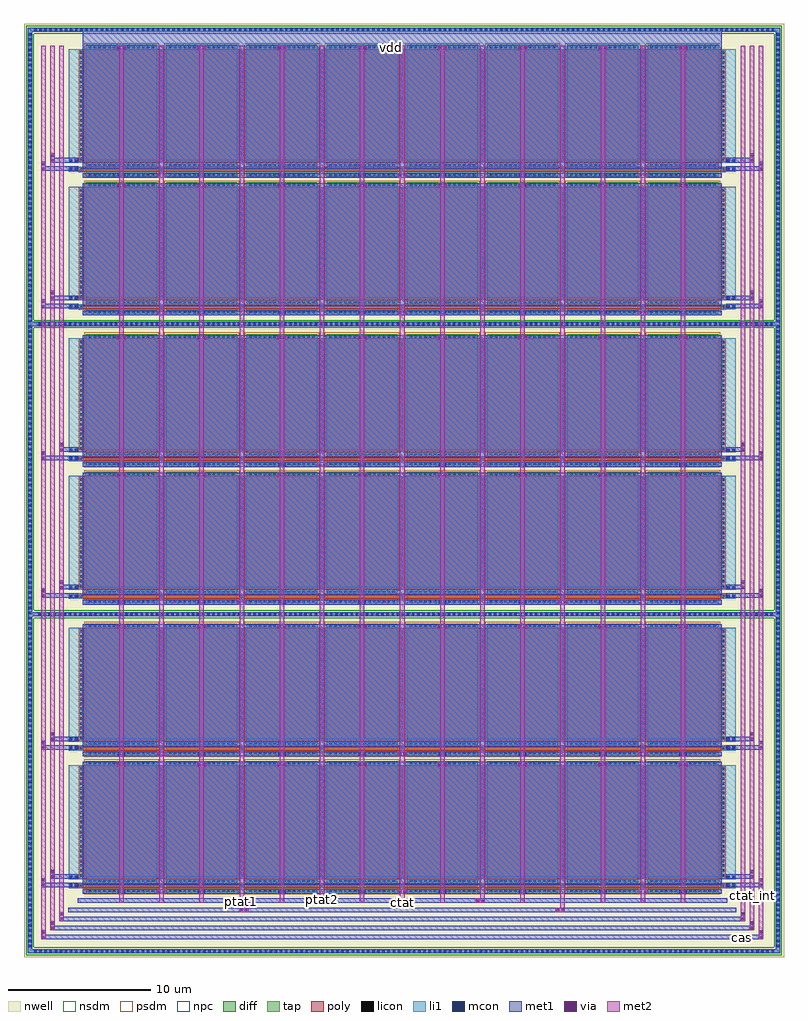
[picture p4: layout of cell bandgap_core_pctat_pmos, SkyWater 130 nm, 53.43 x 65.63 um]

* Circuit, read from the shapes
.subckt bandgap_core_pctat_pmos cas ctat ctat_int ptat1 ptat2 ptat_int vdd
XM1 n1 cas ctat vdd sky130_fd_pr__pfet_01v8 w=5 l=0.35
XM2 vdd ctat_int n1 vdd sky130_fd_pr__pfet_01v8 w=5 l=8
XM3 n2 cas ctat vdd sky130_fd_pr__pfet_01v8 w=5 l=0.35
XM4 vdd ctat_int n2 vdd sky130_fd_pr__pfet_01v8 w=5 l=8
XM5 n3 cas ptat1 vdd sky130_fd_pr__pfet_01v8 w=5 l=0.35
XM6 vdd ptat_int n3 vdd sky130_fd_pr__pfet_01v8 w=5 l=8
XM7 n4 cas ptat2 vdd sky130_fd_pr__pfet_01v8 w=5 l=0.35
XM8 vdd ptat_int n4 vdd sky130_fd_pr__pfet_01v8 w=5 l=8
XM9 n5 cas ctat vdd sky130_fd_pr__pfet_01v8 w=5 l=0.35
XM10 vdd ctat_int n5 vdd sky130_fd_pr__pfet_01v8 w=5 l=8
XM11 n6 cas ctat vdd sky130_fd_pr__pfet_01v8 w=5 l=0.35
XM12 vdd ctat_int n6 vdd sky130_fd_pr__pfet_01v8 w=5 l=8
XM13 n7 cas ctat vdd sky130_fd_pr__pfet_01v8 w=5 l=0.35
XM14 vdd ctat_int n7 vdd sky130_fd_pr__pfet_01v8 w=5 l=8
XM15 n8 cas ctat vdd sky130_fd_pr__pfet_01v8 w=5 l=0.35
XM16 vdd ctat_int n8 vdd sky130_fd_pr__pfet_01v8 w=5 l=8
XM17 n9 cas ptat1 vdd sky130_fd_pr__pfet_01v8 w=5 l=0.35
XM18 vdd ptat_int n9 vdd sky130_fd_pr__pfet_01v8 w=5 l=8
XM19 n10 cas ptat2 vdd sky130_fd_pr__pfet_01v8 w=5 l=0.35
XM20 vdd ptat_int n10 vdd sky130_fd_pr__pfet_01v8 w=5 l=8
XM21 n11 cas ctat vdd sky130_fd_pr__pfet_01v8 w=5 l=0.35
XM22 vdd ctat_int n11 vdd sky130_fd_pr__pfet_01v8 w=5 l=8
XM23 n12 cas ctat vdd sky130_fd_pr__pfet_01v8 w=5 l=0.35
XM24 vdd ctat_int n12 vdd sky130_fd_pr__pfet_01v8 w=5 l=8
XM25 n13 cas ctat vdd sky130_fd_pr__pfet_01v8 w=5 l=0.35
XM26 vdd ctat_int n13 vdd sky130_fd_pr__pfet_01v8 w=5 l=8
XM27 n14 cas ctat vdd sky130_fd_pr__pfet_01v8 w=5 l=0.35
XM28 vdd ctat_int n14 vdd sky130_fd_pr__pfet_01v8 w=5 l=8
XM29 n15 cas ptat1 vdd sky130_fd_pr__pfet_01v8 w=5 l=0.35
XM30 vdd ptat_int n15 vdd sky130_fd_pr__pfet_01v8 w=5 l=8
XM31 n16 cas ptat2 vdd sky130_fd_pr__pfet_01v8 w=5 l=0.35
XM32 vdd ptat_int n16 vdd sky130_fd_pr__pfet_01v8 w=5 l=8
XM33 n17 cas ctat vdd sky130_fd_pr__pfet_01v8 w=5 l=0.35
XM34 vdd ctat_int n17 vdd sky130_fd_pr__pfet_01v8 w=5 l=8
XM35 n18 cas ctat vdd sky130_fd_pr__pfet_01v8 w=5 l=0.35
XM36 vdd ctat_int n18 vdd sky130_fd_pr__pfet_01v8 w=5 l=8
XM37 n19 cas ctat vdd sky130_fd_pr__pfet_01v8 w=5 l=0.35
XM38 vdd ctat_int n19 vdd sky130_fd_pr__pfet_01v8 w=5 l=8
XM39 n20 cas ctat vdd sky130_fd_pr__pfet_01v8 w=5 l=0.35
XM40 vdd ctat_int n20 vdd sky130_fd_pr__pfet_01v8 w=5 l=8
XM41 n21 cas ptat1 vdd sky130_fd_pr__pfet_01v8 w=5 l=0.35
XM42 vdd ptat_int n21 vdd sky130_fd_pr__pfet_01v8 w=5 l=8
XM43 n22 cas ptat2 vdd sky130_fd_pr__pfet_01v8 w=5 l=0.35
XM44 vdd ptat_int n22 vdd sky130_fd_pr__pfet_01v8 w=5 l=8
XM45 n23 cas ctat vdd sky130_fd_pr__pfet_01v8 w=5 l=0.35
XM46 vdd ctat_int n23 vdd sky130_fd_pr__pfet_01v8 w=5 l=8
XM47 n24 cas ctat vdd sky130_fd_pr__pfet_01v8 w=5 l=0.35
XM48 vdd ctat_int n24 vdd sky130_fd_pr__pfet_01v8 w=5 l=8
XM49 n25 cas ctat vdd sky130_fd_pr__pfet_01v8 w=5 l=0.35
XM50 vdd ctat_int n25 vdd sky130_fd_pr__pfet_01v8 w=5 l=8
XM51 n26 cas ctat vdd sky130_fd_pr__pfet_01v8 w=5 l=0.35
XM52 vdd ctat_int n26 vdd sky130_fd_pr__pfet_01v8 w=5 l=8
XM53 n27 cas ptat1 vdd sky130_fd_pr__pfet_01v8 w=5 l=0.35
XM54 vdd ptat_int n27 vdd sky130_fd_pr__pfet_01v8 w=5 l=8
XM55 n28 cas ptat2 vdd sky130_fd_pr__pfet_01v8 w=5 l=0.35
XM56 vdd ptat_int n28 vdd sky130_fd_pr__pfet_01v8 w=5 l=8
XM57 n29 cas ctat vdd sky130_fd_pr__pfet_01v8 w=5 l=0.35
XM58 vdd ctat_int n29 vdd sky130_fd_pr__pfet_01v8 w=5 l=8
XM59 n30 cas ctat vdd sky130_fd_pr__pfet_01v8 w=5 l=0.35
XM60 vdd ctat_int n30 vdd sky130_fd_pr__pfet_01v8 w=5 l=8
XM61 n31 cas ctat vdd sky130_fd_pr__pfet_01v8 w=5 l=0.35
XM62 vdd ctat_int n31 vdd sky130_fd_pr__pfet_01v8 w=5 l=8
XM63 n32 cas ctat vdd sky130_fd_pr__pfet_01v8 w=5 l=0.35
XM64 vdd ctat_int n32 vdd sky130_fd_pr__pfet_01v8 w=5 l=8
XM65 n33 cas ptat1 vdd sky130_fd_pr__pfet_01v8 w=5 l=0.35
XM66 vdd ptat_int n33 vdd sky130_fd_pr__pfet_01v8 w=5 l=8
XM67 n34 cas ptat2 vdd sky130_fd_pr__pfet_01v8 w=5 l=0.35
XM68 vdd ptat_int n34 vdd sky130_fd_pr__pfet_01v8 w=5 l=8
XM69 n35 cas ctat vdd sky130_fd_pr__pfet_01v8 w=5 l=0.35
XM70 vdd ctat_int n35 vdd sky130_fd_pr__pfet_01v8 w=5 l=8
XM71 n36 cas ctat vdd sky130_fd_pr__pfet_01v8 w=5 l=0.35
XM72 vdd ctat_int n36 vdd sky130_fd_pr__pfet_01v8 w=5 l=8
XM73 n37 cas ctat vdd sky130_fd_pr__pfet_01v8 w=5 l=0.35
XM74 vdd ctat_int n37 vdd sky130_fd_pr__pfet_01v8 w=5 l=8
XM75 n38 cas ctat vdd sky130_fd_pr__pfet_01v8 w=5 l=0.35
XM76 vdd ctat_int n38 vdd sky130_fd_pr__pfet_01v8 w=5 l=8
XM77 n39 cas ptat1 vdd sky130_fd_pr__pfet_01v8 w=5 l=0.35
XM78 vdd ptat_int n39 vdd sky130_fd_pr__pfet_01v8 w=5 l=8
XM79 n40 cas ptat2 vdd sky130_fd_pr__pfet_01v8 w=5 l=0.35
XM80 vdd ptat_int n40 vdd sky130_fd_pr__pfet_01v8 w=5 l=8
XM81 n41 cas ctat vdd sky130_fd_pr__pfet_01v8 w=5 l=0.35
XM82 vdd ctat_int n41 vdd sky130_fd_pr__pfet_01v8 w=5 l=8
XM83 n42 cas ctat vdd sky130_fd_pr__pfet_01v8 w=5 l=0.35
XM84 vdd ctat_int n42 vdd sky130_fd_pr__pfet_01v8 w=5 l=8
XM85 n43 cas ctat vdd sky130_fd_pr__pfet_01v8 w=5 l=0.35
XM86 vdd ctat_int n43 vdd sky130_fd_pr__pfet_01v8 w=5 l=8
XM87 n44 cas ctat vdd sky130_fd_pr__pfet_01v8 w=5 l=0.35
XM88 vdd ctat_int n44 vdd sky130_fd_pr__pfet_01v8 w=5 l=8
XM89 n45 cas ptat1 vdd sky130_fd_pr__pfet_01v8 w=5 l=0.35
XM90 vdd ptat_int n45 vdd sky130_fd_pr__pfet_01v8 w=5 l=8
XM91 n46 cas ptat2 vdd sky130_fd_pr__pfet_01v8 w=5 l=0.35
XM92 vdd ptat_int n46 vdd sky130_fd_pr__pfet_01v8 w=5 l=8
XM93 n47 cas ctat vdd sky130_fd_pr__pfet_01v8 w=5 l=0.35
XM94 vdd ctat_int n47 vdd sky130_fd_pr__pfet_01v8 w=5 l=8
XM95 n48 cas ctat vdd sky130_fd_pr__pfet_01v8 w=5 l=0.35
XM96 vdd ctat_int n48 vdd sky130_fd_pr__pfet_01v8 w=5 l=8
.ends

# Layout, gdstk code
from math import pi, radians
import gdstk
lib = gdstk.Library(unit=1e-6, precision=5e-09)
def R(c, l, rs):  # rectangles x0, y0, x1, y1
    for r in rs: c.add(gdstk.rectangle(r[:2], r[2:], *l))
def A(c, l, x, y, w, h, nx, ny, dx, dy):  # array of equal rectangles
    R(c, l, [(x+i*dx, y+j*dy, x+i*dx+w, y+j*dy+h) for i in range(nx) for j in range(ny)])
nwell = (64, 20)
diff = (65, 20)
tap = (65, 44)
poly = (66, 20)
licon = (66, 44)
li1 = (67, 20)
mcon = (67, 44)
met1 = (68, 20)
via = (68, 44)
met2 = (69, 20)
nsdm = (93, 44)
psdm = (94, 20)
npc = (95, 20)

contact_15 = lib.new_cell('contact$15')
R(contact_15, met1, [(-0.16,-0.32,0.16,0.32)])
R(contact_15, via, [(-0.075,-0.235,0.075,-0.085), (-0.075,0.085,0.075,0.235)])
R(contact_15, met2, [(-0.16,-0.32,0.16,0.32)])

bandgap_cascurr_cell = lib.new_cell('bandgap_cascurr_cell')
R(bandgap_cascurr_cell, nwell, [(0,0.005,1.29,6.005), (0.64,0.005,9.58,6.005)])
R(bandgap_cascurr_cell, diff, [(0.18,0.505,1.11,5.505), (0.82,0.505,9.4,5.505)])
R(bandgap_cascurr_cell, poly, [(0.47,0.02,0.82,5.99), (1.11,0.02,9.11,5.99)])
A(bandgap_cascurr_cell, licon, 1.285, 0.1, 0.17, 0.17, 23, 2, 0.34, 5.64)
A(bandgap_cascurr_cell, licon, 0.24, 0.71, 0.17, 0.17, 1, 14, 0, 0.34)
A(bandgap_cascurr_cell, licon, 9.17, 0.71, 0.17, 0.17, 1, 14, 0, 0.34)
R(bandgap_cascurr_cell, licon, [(0.56,0.1,0.73,0.27), (0.88,0.71,1.05,0.88), (0.88,0.71,1.05,0.88), (0.88,1.05,1.05,1.22), (0.88,1.05,1.05,1.22), (0.88,1.39,1.05,1.56), (0.88,1.39,1.05,1.56), (0.88,1.73,1.05,1.9), (0.88,1.73,1.05,1.9), (0.88,2.07,1.05,2.24), (0.88,2.07,1.05,2.24), (0.88,2.41,1.05,2.58), (0.88,2.41,1.05,2.58), (0.88,2.75,1.05,2.92), (0.88,2.75,1.05,2.92), (0.88,3.09,1.05,3.26), (0.88,3.09,1.05,3.26), (0.88,3.43,1.05,3.6), (0.88,3.43,1.05,3.6), (0.88,3.77,1.05,3.94), (0.88,3.77,1.05,3.94), (0.88,4.11,1.05,4.28), (0.88,4.11,1.05,4.28), (0.88,4.45,1.05,4.62), (0.88,4.45,1.05,4.62), (0.88,4.79,1.05,4.96), (0.88,4.79,1.05,4.96), (0.88,5.13,1.05,5.3), (0.88,5.13,1.05,5.3), (0.56,5.74,0.73,5.91)])
R(bandgap_cascurr_cell, li1, [(0.47,0.1,0.82,0.27), (1.11,0.1,9.11,0.27), (0.24,0.485,0.41,5.525), (0.88,0.485,1.05,5.525), (0.88,0.485,1.05,5.525), (9.17,0.485,9.34,5.525), (0.47,5.74,0.82,5.91), (1.11,5.74,9.11,5.91)])
R(bandgap_cascurr_cell, psdm, [(0.055,0.38,1.235,5.63), (0.695,0.38,9.525,5.63)])
R(bandgap_cascurr_cell, npc, [(0.46,0,0.83,0.37), (1.185,0,9.035,0.37), (0.46,5.64,0.83,6.01), (1.185,5.64,9.035,6.01)])

contact_13 = lib.new_cell('contact$13')
R(contact_13, li1, [(-0.345,-0.165,0.345,0.165)])
R(contact_13, mcon, [(-0.265,-0.085,-0.095,0.085), (0.095,-0.085,0.265,0.085)])
R(contact_13, met1, [(-0.325,-0.145,0.325,0.145)])

bandgap_core_pctat_pmos = lib.new_cell('bandgap_core_pctat_pmos')
R(bandgap_core_pctat_pmos, nwell, [(-3.005,-3.55,48.74,60.4), (0.005,0,45.485,57.93)])
A(bandgap_core_pctat_pmos, licon, -3.135, -4.055, 0.17, 0.17, 145, 2, 0.36, 64.79)
A(bandgap_core_pctat_pmos, licon, -3.51, -3.68, 0.17, 0.17, 1, 179, 0, 0.36)
A(bandgap_core_pctat_pmos, licon, 49.075, -3.68, 0.17, 0.17, 1, 179, 0, 0.36)
A(bandgap_core_pctat_pmos, licon, -2.85, 19.64, 0.17, 0.17, 144, 2, 0.36, 20.4)
A(bandgap_core_pctat_pmos, li1, 0.485, 0.08, 5.04, 0.33, 8, 2, 5.64, 9.67)
A(bandgap_core_pctat_pmos, li1, 0.485, 1.29, 5.04, 8.05, 8, 2, 5.64, 9.67)
A(bandgap_core_pctat_pmos, li1, 0.485, 20.42, 5.04, 0.33, 8, 2, 5.64, 9.67)
A(bandgap_core_pctat_pmos, li1, 0.485, 21.63, 5.04, 8.05, 8, 2, 5.64, 9.67)
A(bandgap_core_pctat_pmos, li1, 0.485, 40.76, 5.04, 0.33, 8, 2, 5.64, 9.67)
A(bandgap_core_pctat_pmos, li1, 0.485, 41.97, 5.04, 8.05, 8, 2, 5.64, 9.67)
R(bandgap_core_pctat_pmos, li1, [(-0.7,0.47,0.27,0.85), (45.22,0.47,46.19,0.85), (-0.7,1.11,0.27,9.11), (45.22,1.11,46.19,9.11), (-0.7,10.14,0.27,10.52), (45.22,10.14,46.19,10.52), (-0.7,10.78,0.27,18.78), (45.22,10.78,46.19,18.78), (-0.7,20.81,0.27,21.19), (45.22,20.81,46.19,21.19), (-0.7,21.45,0.27,29.45), (45.22,21.45,46.19,29.45), (-0.7,30.48,0.27,30.86), (45.22,30.48,46.19,30.86), (-0.7,31.12,0.27,39.12), (45.22,31.12,46.19,39.12), (-0.7,41.15,0.27,41.53), (45.22,41.15,46.19,41.53), (-0.7,41.79,0.27,49.79), (45.22,41.79,46.19,49.79), (-0.7,50.82,0.27,51.2), (45.22,50.82,46.19,51.2), (-0.7,51.46,0.27,59.46), (45.22,51.46,46.19,59.46)])
A(bandgap_core_pctat_pmos, mcon, -3.135, -4.055, 0.17, 0.17, 145, 2, 0.36, 64.79)
A(bandgap_core_pctat_pmos, mcon, -3.51, -3.68, 0.17, 0.17, 1, 179, 0, 0.36)
A(bandgap_core_pctat_pmos, mcon, 49.075, -3.68, 0.17, 0.17, 1, 179, 0, 0.36)
A(bandgap_core_pctat_pmos, mcon, -2.85, 19.64, 0.17, 0.17, 144, 2, 0.36, 20.4)
R(bandgap_core_pctat_pmos, met1, [(0.27,0.71,45.22,9.34), (0.27,10.38,45.22,19.01), (0.27,21.05,45.22,29.68), (0.27,30.72,45.22,39.35), (0.27,41.39,45.22,50.02), (0.27,51.06,45.22,59.69), (0.27,59.69,45.22,60.67)])
bandgap_core_pctat_pmos.add(gdstk.FlexPath([(-3.275,19.725),(49.01,19.725)], 0.3, ends="flush", simple_path=True, layer=67, datatype=20))  # li1
bandgap_core_pctat_pmos.add(gdstk.FlexPath([(-3.575,60.82),(49.16,60.82),(49.16,-3.97),(-3.425,-3.97),(-3.425,60.97)], 0.3, ends="flush", simple_path=True, layer=67, datatype=20))  # li1
bandgap_core_pctat_pmos.add(gdstk.FlexPath([(-3.275,40.125),(49.01,40.125)], 0.3, ends="flush", simple_path=True, layer=67, datatype=20))  # li1
bandgap_core_pctat_pmos.add(gdstk.FlexPath([(-0.72,-1.05),(46.215,-1.05)], 0.32, ends="flush", simple_path=True, layer=68, datatype=20))  # met1
bandgap_core_pctat_pmos.add(gdstk.FlexPath([(-1.36,-1.69),(46.855,-1.69)], 0.32, ends="flush", simple_path=True, layer=68, datatype=20))  # met1
bandgap_core_pctat_pmos.add(gdstk.FlexPath([(-2,-2.33),(47.495,-2.33)], 0.32, ends="flush", simple_path=True, layer=68, datatype=20))  # met1
bandgap_core_pctat_pmos.add(gdstk.FlexPath([(-2.64,-2.97),(48.135,-2.97)], 0.32, ends="flush", simple_path=True, layer=68, datatype=20))  # met1
bandgap_core_pctat_pmos.add(gdstk.FlexPath([(-0.08,-0.41),(45.575,-0.41)], 0.32, ends="flush", simple_path=True, layer=68, datatype=20))  # met1
bandgap_core_pctat_pmos.add(gdstk.FlexPath([(-3.575,60.82),(49.16,60.82),(49.16,-3.97),(-3.425,-3.97),(-3.425,60.97)], 0.3, ends="flush", simple_path=True, layer=68, datatype=20))  # met1
bandgap_core_pctat_pmos.add(gdstk.FlexPath([(-0.03,31.3),(-1.36,31.3)], 0.32, ends="flush", simple_path=True, layer=68, datatype=20))  # met1
bandgap_core_pctat_pmos.add(gdstk.FlexPath([(45.52,31.3),(46.855,31.3)], 0.32, ends="flush", simple_path=True, layer=68, datatype=20))  # met1
bandgap_core_pctat_pmos.add(gdstk.FlexPath([(-0.03,51.64),(-2.005,51.64)], 0.32, ends="flush", simple_path=True, layer=68, datatype=20))  # met1
bandgap_core_pctat_pmos.add(gdstk.FlexPath([(-0.03,41.97),(-2.005,41.97)], 0.32, ends="flush", simple_path=True, layer=68, datatype=20))  # met1
bandgap_core_pctat_pmos.add(gdstk.FlexPath([(-0.03,21.63),(-1.365,21.63)], 0.32, ends="flush", simple_path=True, layer=68, datatype=20))  # met1
bandgap_core_pctat_pmos.add(gdstk.FlexPath([(45.52,51.64),(47.495,51.64)], 0.32, ends="flush", simple_path=True, layer=68, datatype=20))  # met1
bandgap_core_pctat_pmos.add(gdstk.FlexPath([(45.52,41.97),(47.495,41.97)], 0.32, ends="flush", simple_path=True, layer=68, datatype=20))  # met1
bandgap_core_pctat_pmos.add(gdstk.FlexPath([(45.52,21.63),(46.855,21.63)], 0.32, ends="flush", simple_path=True, layer=68, datatype=20))  # met1
bandgap_core_pctat_pmos.add(gdstk.FlexPath([(-0.025,51.05),(-2.64,51.05)], 0.32, ends="flush", simple_path=True, layer=68, datatype=20))  # met1
bandgap_core_pctat_pmos.add(gdstk.FlexPath([(-0.025,41.38),(-2.64,41.38)], 0.32, ends="flush", simple_path=True, layer=68, datatype=20))  # met1
bandgap_core_pctat_pmos.add(gdstk.FlexPath([(-0.025,30.71),(-2.64,30.71)], 0.32, ends="flush", simple_path=True, layer=68, datatype=20))  # met1
bandgap_core_pctat_pmos.add(gdstk.FlexPath([(-0.025,21.04),(-2.64,21.04)], 0.32, ends="flush", simple_path=True, layer=68, datatype=20))  # met1
bandgap_core_pctat_pmos.add(gdstk.FlexPath([(45.52,51.05),(48.135,51.05)], 0.32, ends="flush", simple_path=True, layer=68, datatype=20))  # met1
bandgap_core_pctat_pmos.add(gdstk.FlexPath([(45.52,41.38),(48.135,41.38)], 0.32, ends="flush", simple_path=True, layer=68, datatype=20))  # met1
bandgap_core_pctat_pmos.add(gdstk.FlexPath([(45.52,30.71),(48.135,30.71)], 0.32, ends="flush", simple_path=True, layer=68, datatype=20))  # met1
bandgap_core_pctat_pmos.add(gdstk.FlexPath([(45.52,21.04),(48.135,21.04)], 0.32, ends="flush", simple_path=True, layer=68, datatype=20))  # met1
bandgap_core_pctat_pmos.add(gdstk.FlexPath([(0.27,50.58),(45.22,50.58)], 0.32, ends="flush", simple_path=True, layer=68, datatype=20))  # met1
bandgap_core_pctat_pmos.add(gdstk.FlexPath([(0.27,40.91),(45.22,40.91)], 0.32, ends="flush", simple_path=True, layer=68, datatype=20))  # met1
bandgap_core_pctat_pmos.add(gdstk.FlexPath([(0.27,30.24),(45.22,30.24)], 0.32, ends="flush", simple_path=True, layer=68, datatype=20))  # met1
bandgap_core_pctat_pmos.add(gdstk.FlexPath([(0.27,20.57),(45.22,20.57)], 0.32, ends="flush", simple_path=True, layer=68, datatype=20))  # met1
bandgap_core_pctat_pmos.add(gdstk.FlexPath([(-3.275,19.725),(49.01,19.725)], 0.3, ends="flush", simple_path=True, layer=68, datatype=20))  # met1
bandgap_core_pctat_pmos.add(gdstk.FlexPath([(-3.275,40.125),(49.01,40.125)], 0.3, ends="flush", simple_path=True, layer=68, datatype=20))  # met1
bandgap_core_pctat_pmos.add(gdstk.FlexPath([(0.27,0.23),(45.22,0.23)], 0.32, ends="flush", simple_path=True, layer=68, datatype=20))  # met1
bandgap_core_pctat_pmos.add(gdstk.FlexPath([(0.27,9.9),(45.22,9.9)], 0.32, ends="flush", simple_path=True, layer=68, datatype=20))  # met1
bandgap_core_pctat_pmos.add(gdstk.FlexPath([(45.52,0.7),(48.135,0.7)], 0.32, ends="flush", simple_path=True, layer=68, datatype=20))  # met1
bandgap_core_pctat_pmos.add(gdstk.FlexPath([(45.52,10.37),(48.135,10.37)], 0.32, ends="flush", simple_path=True, layer=68, datatype=20))  # met1
bandgap_core_pctat_pmos.add(gdstk.FlexPath([(-0.025,0.7),(-2.64,0.7)], 0.32, ends="flush", simple_path=True, layer=68, datatype=20))  # met1
bandgap_core_pctat_pmos.add(gdstk.FlexPath([(-0.025,10.37),(-2.64,10.37)], 0.32, ends="flush", simple_path=True, layer=68, datatype=20))  # met1
bandgap_core_pctat_pmos.add(gdstk.FlexPath([(45.52,1.29),(47.495,1.29)], 0.32, ends="flush", simple_path=True, layer=68, datatype=20))  # met1
bandgap_core_pctat_pmos.add(gdstk.FlexPath([(45.52,10.96),(47.495,10.96)], 0.32, ends="flush", simple_path=True, layer=68, datatype=20))  # met1
bandgap_core_pctat_pmos.add(gdstk.FlexPath([(-0.03,1.29),(-2.005,1.29)], 0.32, ends="flush", simple_path=True, layer=68, datatype=20))  # met1
bandgap_core_pctat_pmos.add(gdstk.FlexPath([(-0.03,10.96),(-2.005,10.96)], 0.32, ends="flush", simple_path=True, layer=68, datatype=20))  # met1
bandgap_core_pctat_pmos.add(gdstk.FlexPath([(34.025,59.69),(34.025,-1.21)], 0.32, ends="flush", simple_path=True, layer=69, datatype=20))  # met2
bandgap_core_pctat_pmos.add(gdstk.FlexPath([(28.385,59.69),(28.385,-0.57)], 0.32, ends="flush", simple_path=True, layer=69, datatype=20))  # met2
bandgap_core_pctat_pmos.add(gdstk.FlexPath([(11.465,59.69),(11.465,-1.21)], 0.32, ends="flush", simple_path=True, layer=69, datatype=20))  # met2
bandgap_core_pctat_pmos.add(gdstk.FlexPath([(17.105,59.69),(17.105,-0.57)], 0.32, ends="flush", simple_path=True, layer=69, datatype=20))  # met2
bandgap_core_pctat_pmos.add(gdstk.FlexPath([(31.205,59.69),(31.205,-0.57)], 0.32, ends="flush", simple_path=True, layer=69, datatype=20))  # met2
bandgap_core_pctat_pmos.add(gdstk.FlexPath([(25.565,59.69),(25.565,-0.57)], 0.32, ends="flush", simple_path=True, layer=69, datatype=20))  # met2
bandgap_core_pctat_pmos.add(gdstk.FlexPath([(-1.2,59.69),(-1.2,-1.85)], 0.32, ends="flush", simple_path=True, layer=69, datatype=20))  # met2
bandgap_core_pctat_pmos.add(gdstk.FlexPath([(46.695,59.69),(46.695,-1.85)], 0.32, ends="flush", simple_path=True, layer=69, datatype=20))  # met2
bandgap_core_pctat_pmos.add(gdstk.FlexPath([(47.335,59.69),(47.335,-2.49)], 0.32, ends="flush", simple_path=True, layer=69, datatype=20))  # met2
bandgap_core_pctat_pmos.add(gdstk.FlexPath([(-1.84,59.69),(-1.84,-2.49)], 0.32, ends="flush", simple_path=True, layer=69, datatype=20))  # met2
bandgap_core_pctat_pmos.add(gdstk.FlexPath([(-2.48,59.69),(-2.48,-3.13)], 0.32, ends="flush", simple_path=True, layer=69, datatype=20))  # met2
bandgap_core_pctat_pmos.add(gdstk.FlexPath([(47.975,59.69),(47.975,-3.13)], 0.32, ends="flush", simple_path=True, layer=69, datatype=20))  # met2
bandgap_core_pctat_pmos.add(gdstk.FlexPath([(39.665,59.69),(39.665,-0.57)], 0.32, ends="flush", simple_path=True, layer=69, datatype=20))  # met2
bandgap_core_pctat_pmos.add(gdstk.FlexPath([(22.745,59.69),(22.745,-0.57)], 0.32, ends="flush", simple_path=True, layer=69, datatype=20))  # met2
bandgap_core_pctat_pmos.add(gdstk.FlexPath([(5.825,59.69),(5.825,-0.57)], 0.32, ends="flush", simple_path=True, layer=69, datatype=20))  # met2
bandgap_core_pctat_pmos.add(gdstk.FlexPath([(42.485,59.69),(42.485,-0.57)], 0.32, ends="flush", simple_path=True, layer=69, datatype=20))  # met2
bandgap_core_pctat_pmos.add(gdstk.FlexPath([(36.845,59.69),(36.845,-0.57)], 0.32, ends="flush", simple_path=True, layer=69, datatype=20))  # met2
bandgap_core_pctat_pmos.add(gdstk.FlexPath([(19.925,59.69),(19.925,-0.57)], 0.32, ends="flush", simple_path=True, layer=69, datatype=20))  # met2
bandgap_core_pctat_pmos.add(gdstk.FlexPath([(3.005,59.69),(3.005,-0.57)], 0.32, ends="flush", simple_path=True, layer=69, datatype=20))  # met2
bandgap_core_pctat_pmos.add(gdstk.FlexPath([(8.645,59.69),(8.645,-0.57)], 0.32, ends="flush", simple_path=True, layer=69, datatype=20))  # met2
bandgap_core_pctat_pmos.add(gdstk.FlexPath([(14.285,59.69),(14.285,-0.57)], 0.32, ends="flush", simple_path=True, layer=69, datatype=20))  # met2
bandgap_core_pctat_pmos.add(gdstk.FlexPath([(-3.845,60.82),(49.16,60.82),(49.16,-3.97),(-3.425,-3.97),(-3.425,61.24)], 0.84, ends="flush", simple_path=True, layer=64, datatype=20))  # nwell
bandgap_core_pctat_pmos.add(gdstk.FlexPath([(-3.7,60.82),(49.16,60.82),(49.16,-3.97),(-3.425,-3.97),(-3.425,61.095)], 0.55, ends="flush", simple_path=True, layer=93, datatype=44))  # nsdm
bandgap_core_pctat_pmos.add(gdstk.FlexPath([(-3.275,19.725),(49.01,19.725)], 0.55, ends="flush", simple_path=True, layer=93, datatype=44))  # nsdm
bandgap_core_pctat_pmos.add(gdstk.FlexPath([(-3.275,40.125),(49.01,40.125)], 0.55, ends="flush", simple_path=True, layer=93, datatype=44))  # nsdm
bandgap_core_pctat_pmos.add(gdstk.FlexPath([(-3.575,60.82),(49.16,60.82),(49.16,-3.97),(-3.425,-3.97),(-3.425,60.97)], 0.3, ends="flush", simple_path=True, layer=65, datatype=44))  # tap
bandgap_core_pctat_pmos.add(gdstk.FlexPath([(-3.275,19.725),(49.01,19.725)], 0.3, ends="flush", simple_path=True, layer=65, datatype=44))  # tap
bandgap_core_pctat_pmos.add(gdstk.FlexPath([(-3.275,40.125),(49.01,40.125)], 0.3, ends="flush", simple_path=True, layer=65, datatype=44))  # tap
bandgap_core_pctat_pmos.add(gdstk.Reference(contact_15, (22.745,9.9), rotation=pi/2, x_reflection=True))
bandgap_core_pctat_pmos.add(gdstk.Reference(contact_15, (22.745,0.23), rotation=pi/2, x_reflection=True))
r = gdstk.Reference(bandgap_cascurr_cell, (45.49,0), rotation=pi/2); r.repetition = gdstk.Repetition(2, 8, v1=(0,9.67), v2=(-5.64,0)); bandgap_core_pctat_pmos.add(r)
bandgap_core_pctat_pmos.add(gdstk.Reference(contact_15, (22.745,50.58), rotation=pi/2, x_reflection=True))
bandgap_core_pctat_pmos.add(gdstk.Reference(contact_15, (22.745,40.91), rotation=pi/2, x_reflection=True))
r = gdstk.Reference(bandgap_cascurr_cell, (45.49,20.34), rotation=pi/2); r.repetition = gdstk.Repetition(2, 8, v1=(0,9.67), v2=(-5.64,0)); bandgap_core_pctat_pmos.add(r)
r = gdstk.Reference(bandgap_cascurr_cell, (45.49,40.68), rotation=pi/2); r.repetition = gdstk.Repetition(2, 8, v1=(0,9.67), v2=(-5.64,0)); bandgap_core_pctat_pmos.add(r)
bandgap_core_pctat_pmos.add(gdstk.Reference(contact_15, (42.485,29.52), rotation=pi/2, x_reflection=True))
bandgap_core_pctat_pmos.add(gdstk.Reference(contact_15, (36.845,29.52), rotation=pi/2, x_reflection=True))
bandgap_core_pctat_pmos.add(gdstk.Reference(contact_15, (31.205,29.52), rotation=pi/2, x_reflection=True))
bandgap_core_pctat_pmos.add(gdstk.Reference(contact_15, (25.565,29.52), rotation=pi/2, x_reflection=True))
bandgap_core_pctat_pmos.add(gdstk.Reference(contact_15, (28.385,30.24), rotation=pi/2, x_reflection=True))
bandgap_core_pctat_pmos.add(gdstk.Reference(contact_15, (39.665,50.58), rotation=pi/2, x_reflection=True))
bandgap_core_pctat_pmos.add(gdstk.Reference(contact_13, (42.485,30.255)))
bandgap_core_pctat_pmos.add(gdstk.Reference(contact_15, (39.665,40.91), rotation=pi/2, x_reflection=True))
bandgap_core_pctat_pmos.add(gdstk.Reference(contact_13, (36.845,30.255)))
bandgap_core_pctat_pmos.add(gdstk.Reference(contact_13, (31.205,30.255)))
bandgap_core_pctat_pmos.add(gdstk.Reference(contact_13, (25.565,30.255)))
bandgap_core_pctat_pmos.add(gdstk.Reference(contact_15, (42.485,59.53), rotation=pi/2, x_reflection=True))
bandgap_core_pctat_pmos.add(gdstk.Reference(contact_15, (36.845,59.53), rotation=pi/2, x_reflection=True))
bandgap_core_pctat_pmos.add(gdstk.Reference(contact_15, (31.205,59.53), rotation=pi/2, x_reflection=True))
bandgap_core_pctat_pmos.add(gdstk.Reference(contact_15, (25.565,59.53), rotation=pi/2, x_reflection=True))
bandgap_core_pctat_pmos.add(gdstk.Reference(contact_15, (42.485,49.86), rotation=pi/2, x_reflection=True))
bandgap_core_pctat_pmos.add(gdstk.Reference(contact_15, (36.845,49.86), rotation=pi/2, x_reflection=True))
bandgap_core_pctat_pmos.add(gdstk.Reference(contact_15, (31.205,49.86), rotation=pi/2, x_reflection=True))
bandgap_core_pctat_pmos.add(gdstk.Reference(contact_15, (25.565,49.86), rotation=pi/2, x_reflection=True))
bandgap_core_pctat_pmos.add(gdstk.Reference(contact_15, (42.485,39.19), rotation=pi/2, x_reflection=True))
bandgap_core_pctat_pmos.add(gdstk.Reference(contact_15, (36.845,39.19), rotation=pi/2, x_reflection=True))
bandgap_core_pctat_pmos.add(gdstk.Reference(contact_15, (31.205,39.19), rotation=pi/2, x_reflection=True))
bandgap_core_pctat_pmos.add(gdstk.Reference(contact_15, (25.565,39.19), rotation=pi/2, x_reflection=True))
bandgap_core_pctat_pmos.add(gdstk.Reference(contact_15, (47.335,51.8), rotation=pi))
bandgap_core_pctat_pmos.add(gdstk.Reference(contact_15, (47.335,42.13), rotation=pi))
bandgap_core_pctat_pmos.add(gdstk.Reference(contact_15, (46.695,31.46), rotation=pi))
bandgap_core_pctat_pmos.add(gdstk.Reference(contact_15, (47.975,51.21)))
bandgap_core_pctat_pmos.add(gdstk.Reference(contact_15, (47.975,41.54)))
bandgap_core_pctat_pmos.add(gdstk.Reference(contact_15, (47.975,30.87)))
bandgap_core_pctat_pmos.add(gdstk.Reference(contact_13, (45.845,51.625)))
bandgap_core_pctat_pmos.add(gdstk.Reference(contact_13, (45.845,41.955)))
bandgap_core_pctat_pmos.add(gdstk.Reference(contact_13, (45.845,31.285)))
bandgap_core_pctat_pmos.add(gdstk.Reference(contact_13, (45.845,51.035)))
bandgap_core_pctat_pmos.add(gdstk.Reference(contact_13, (45.845,41.365)))
bandgap_core_pctat_pmos.add(gdstk.Reference(contact_13, (45.845,30.695)))
bandgap_core_pctat_pmos.add(gdstk.Reference(contact_13, (42.485,59.525)))
bandgap_core_pctat_pmos.add(gdstk.Reference(contact_13, (36.845,59.525)))
bandgap_core_pctat_pmos.add(gdstk.Reference(contact_13, (31.205,59.525)))
bandgap_core_pctat_pmos.add(gdstk.Reference(contact_13, (25.565,59.525)))
bandgap_core_pctat_pmos.add(gdstk.Reference(contact_13, (42.485,49.855)))
bandgap_core_pctat_pmos.add(gdstk.Reference(contact_13, (36.845,49.855)))
bandgap_core_pctat_pmos.add(gdstk.Reference(contact_13, (31.205,49.855)))
bandgap_core_pctat_pmos.add(gdstk.Reference(contact_13, (25.565,49.855)))
bandgap_core_pctat_pmos.add(gdstk.Reference(contact_13, (42.485,39.185)))
bandgap_core_pctat_pmos.add(gdstk.Reference(contact_13, (36.845,39.185)))
bandgap_core_pctat_pmos.add(gdstk.Reference(contact_13, (31.205,39.185)))
bandgap_core_pctat_pmos.add(gdstk.Reference(contact_13, (25.565,39.185)))
bandgap_core_pctat_pmos.add(gdstk.Reference(contact_13, (42.485,50.595)))
bandgap_core_pctat_pmos.add(gdstk.Reference(contact_13, (36.845,50.595)))
bandgap_core_pctat_pmos.add(gdstk.Reference(contact_13, (31.205,50.595)))
bandgap_core_pctat_pmos.add(gdstk.Reference(contact_13, (25.565,50.595)))
bandgap_core_pctat_pmos.add(gdstk.Reference(contact_13, (42.485,40.925)))
bandgap_core_pctat_pmos.add(gdstk.Reference(contact_13, (36.845,40.925)))
bandgap_core_pctat_pmos.add(gdstk.Reference(contact_13, (31.205,40.925)))
bandgap_core_pctat_pmos.add(gdstk.Reference(contact_13, (25.565,40.925)))
bandgap_core_pctat_pmos.add(gdstk.Reference(contact_13, (42.485,29.515)))
bandgap_core_pctat_pmos.add(gdstk.Reference(contact_13, (36.845,29.515)))
bandgap_core_pctat_pmos.add(gdstk.Reference(contact_13, (31.205,29.515)))
bandgap_core_pctat_pmos.add(gdstk.Reference(contact_13, (25.565,29.515)))
bandgap_core_pctat_pmos.add(gdstk.Reference(contact_13, (-0.355,41.955), rotation=pi, x_reflection=True))
bandgap_core_pctat_pmos.add(gdstk.Reference(contact_13, (-0.355,31.285), rotation=pi, x_reflection=True))
bandgap_core_pctat_pmos.add(gdstk.Reference(contact_13, (-0.355,51.035), rotation=pi, x_reflection=True))
bandgap_core_pctat_pmos.add(gdstk.Reference(contact_13, (-0.355,41.365), rotation=pi, x_reflection=True))
bandgap_core_pctat_pmos.add(gdstk.Reference(contact_13, (8.645,29.515)))
bandgap_core_pctat_pmos.add(gdstk.Reference(contact_13, (3.005,29.515)))
bandgap_core_pctat_pmos.add(gdstk.Reference(contact_15, (19.925,29.52), rotation=pi/2, x_reflection=True))
bandgap_core_pctat_pmos.add(gdstk.Reference(contact_15, (14.285,29.52), rotation=pi/2, x_reflection=True))
bandgap_core_pctat_pmos.add(gdstk.Reference(contact_15, (8.645,29.52), rotation=pi/2, x_reflection=True))
bandgap_core_pctat_pmos.add(gdstk.Reference(contact_15, (3.005,29.52), rotation=pi/2, x_reflection=True))
bandgap_core_pctat_pmos.add(gdstk.Reference(contact_13, (19.925,29.515)))
bandgap_core_pctat_pmos.add(gdstk.Reference(contact_13, (14.285,29.515)))
bandgap_core_pctat_pmos.add(gdstk.Reference(contact_15, (17.105,30.24), rotation=pi/2, x_reflection=True))
bandgap_core_pctat_pmos.add(gdstk.Reference(contact_13, (-0.355,30.695), rotation=pi, x_reflection=True))
bandgap_core_pctat_pmos.add(gdstk.Reference(contact_13, (8.645,30.255)))
bandgap_core_pctat_pmos.add(gdstk.Reference(contact_13, (3.005,30.255)))
bandgap_core_pctat_pmos.add(gdstk.Reference(contact_15, (5.825,50.58), rotation=pi/2, x_reflection=True))
bandgap_core_pctat_pmos.add(gdstk.Reference(contact_13, (19.925,39.185)))
bandgap_core_pctat_pmos.add(gdstk.Reference(contact_13, (14.285,39.185)))
bandgap_core_pctat_pmos.add(gdstk.Reference(contact_15, (5.825,40.91), rotation=pi/2, x_reflection=True))
bandgap_core_pctat_pmos.add(gdstk.Reference(contact_13, (8.645,39.185)))
bandgap_core_pctat_pmos.add(gdstk.Reference(contact_13, (3.005,39.185)))
bandgap_core_pctat_pmos.add(gdstk.Reference(contact_13, (19.925,40.925)))
bandgap_core_pctat_pmos.add(gdstk.Reference(contact_13, (14.285,40.925)))
bandgap_core_pctat_pmos.add(gdstk.Reference(contact_13, (8.645,40.925)))
bandgap_core_pctat_pmos.add(gdstk.Reference(contact_13, (3.005,40.925)))
bandgap_core_pctat_pmos.add(gdstk.Reference(contact_15, (19.925,59.53), rotation=pi/2, x_reflection=True))
bandgap_core_pctat_pmos.add(gdstk.Reference(contact_15, (14.285,59.53), rotation=pi/2, x_reflection=True))
bandgap_core_pctat_pmos.add(gdstk.Reference(contact_15, (8.645,59.53), rotation=pi/2, x_reflection=True))
bandgap_core_pctat_pmos.add(gdstk.Reference(contact_15, (3.005,59.53), rotation=pi/2, x_reflection=True))
bandgap_core_pctat_pmos.add(gdstk.Reference(contact_13, (19.925,59.525)))
bandgap_core_pctat_pmos.add(gdstk.Reference(contact_13, (14.285,59.525)))
bandgap_core_pctat_pmos.add(gdstk.Reference(contact_13, (8.645,59.525)))
bandgap_core_pctat_pmos.add(gdstk.Reference(contact_13, (3.005,59.525)))
bandgap_core_pctat_pmos.add(gdstk.Reference(contact_15, (19.925,49.86), rotation=pi/2, x_reflection=True))
bandgap_core_pctat_pmos.add(gdstk.Reference(contact_15, (14.285,49.86), rotation=pi/2, x_reflection=True))
bandgap_core_pctat_pmos.add(gdstk.Reference(contact_15, (8.645,49.86), rotation=pi/2, x_reflection=True))
bandgap_core_pctat_pmos.add(gdstk.Reference(contact_15, (3.005,49.86), rotation=pi/2, x_reflection=True))
bandgap_core_pctat_pmos.add(gdstk.Reference(contact_13, (19.925,50.595)))
bandgap_core_pctat_pmos.add(gdstk.Reference(contact_13, (14.285,50.595)))
bandgap_core_pctat_pmos.add(gdstk.Reference(contact_13, (8.645,50.595)))
bandgap_core_pctat_pmos.add(gdstk.Reference(contact_13, (3.005,50.595)))
bandgap_core_pctat_pmos.add(gdstk.Reference(contact_15, (19.925,39.19), rotation=pi/2, x_reflection=True))
bandgap_core_pctat_pmos.add(gdstk.Reference(contact_15, (14.285,39.19), rotation=pi/2, x_reflection=True))
bandgap_core_pctat_pmos.add(gdstk.Reference(contact_15, (8.645,39.19), rotation=pi/2, x_reflection=True))
bandgap_core_pctat_pmos.add(gdstk.Reference(contact_15, (3.005,39.19), rotation=pi/2, x_reflection=True))
bandgap_core_pctat_pmos.add(gdstk.Reference(contact_15, (-1.845,51.8), x_reflection=True))
bandgap_core_pctat_pmos.add(gdstk.Reference(contact_15, (-1.845,42.13), x_reflection=True))
bandgap_core_pctat_pmos.add(gdstk.Reference(contact_15, (-1.2,31.46), x_reflection=True))
bandgap_core_pctat_pmos.add(gdstk.Reference(contact_13, (19.925,49.855)))
bandgap_core_pctat_pmos.add(gdstk.Reference(contact_13, (14.285,49.855)))
bandgap_core_pctat_pmos.add(gdstk.Reference(contact_13, (8.645,49.855)))
bandgap_core_pctat_pmos.add(gdstk.Reference(contact_15, (-2.48,51.21), rotation=pi, x_reflection=True))
bandgap_core_pctat_pmos.add(gdstk.Reference(contact_15, (-2.48,41.54), rotation=pi, x_reflection=True))
bandgap_core_pctat_pmos.add(gdstk.Reference(contact_15, (-2.48,30.87), rotation=pi, x_reflection=True))
bandgap_core_pctat_pmos.add(gdstk.Reference(contact_13, (3.005,49.855)))
bandgap_core_pctat_pmos.add(gdstk.Reference(contact_13, (19.925,30.255)))
bandgap_core_pctat_pmos.add(gdstk.Reference(contact_13, (14.285,30.255)))
bandgap_core_pctat_pmos.add(gdstk.Reference(contact_13, (-0.355,51.625), rotation=pi, x_reflection=True))
bandgap_core_pctat_pmos.add(gdstk.Reference(contact_13, (19.925,9.175)))
bandgap_core_pctat_pmos.add(gdstk.Reference(contact_13, (3.005,18.845)))
bandgap_core_pctat_pmos.add(gdstk.Reference(contact_13, (8.645,18.845)))
bandgap_core_pctat_pmos.add(gdstk.Reference(contact_13, (14.285,18.845)))
bandgap_core_pctat_pmos.add(gdstk.Reference(contact_13, (19.925,18.845)))
bandgap_core_pctat_pmos.add(gdstk.Reference(contact_15, (-1.845,1.45), x_reflection=True))
bandgap_core_pctat_pmos.add(gdstk.Reference(contact_15, (-1.845,11.12), x_reflection=True))
bandgap_core_pctat_pmos.add(gdstk.Reference(contact_15, (-2.48,-2.81), rotation=pi))
bandgap_core_pctat_pmos.add(gdstk.Reference(contact_15, (-1.84,-2.17)))
bandgap_core_pctat_pmos.add(gdstk.Reference(contact_15, (-1.2,-1.53), rotation=pi))
bandgap_core_pctat_pmos.add(gdstk.Reference(contact_15, (11.625,-1.05), rotation=3*pi/2))
bandgap_core_pctat_pmos.add(gdstk.Reference(contact_15, (17.265,-0.41), rotation=3*pi/2))
bandgap_core_pctat_pmos.add(gdstk.Reference(contact_15, (3.005,9.18), rotation=pi/2, x_reflection=True))
bandgap_core_pctat_pmos.add(gdstk.Reference(contact_15, (8.645,9.18), rotation=pi/2, x_reflection=True))
bandgap_core_pctat_pmos.add(gdstk.Reference(contact_15, (14.285,9.18), rotation=pi/2, x_reflection=True))
bandgap_core_pctat_pmos.add(gdstk.Reference(contact_15, (19.925,9.18), rotation=pi/2, x_reflection=True))
bandgap_core_pctat_pmos.add(gdstk.Reference(contact_15, (3.005,18.85), rotation=pi/2, x_reflection=True))
bandgap_core_pctat_pmos.add(gdstk.Reference(contact_15, (8.645,18.85), rotation=pi/2, x_reflection=True))
bandgap_core_pctat_pmos.add(gdstk.Reference(contact_15, (14.285,18.85), rotation=pi/2, x_reflection=True))
bandgap_core_pctat_pmos.add(gdstk.Reference(contact_15, (19.925,18.85), rotation=pi/2, x_reflection=True))
bandgap_core_pctat_pmos.add(gdstk.Reference(contact_13, (3.005,0.245)))
bandgap_core_pctat_pmos.add(gdstk.Reference(contact_13, (8.645,0.245)))
bandgap_core_pctat_pmos.add(gdstk.Reference(contact_15, (-1.205,21.79), x_reflection=True))
bandgap_core_pctat_pmos.add(gdstk.Reference(contact_15, (11.465,20.57), rotation=pi/2, x_reflection=True))
bandgap_core_pctat_pmos.add(gdstk.Reference(contact_13, (14.285,0.245)))
bandgap_core_pctat_pmos.add(gdstk.Reference(contact_15, (-2.48,21.2), rotation=pi, x_reflection=True))
bandgap_core_pctat_pmos.add(gdstk.Reference(contact_13, (19.925,20.585)))
bandgap_core_pctat_pmos.add(gdstk.Reference(contact_13, (14.285,20.585)))
bandgap_core_pctat_pmos.add(gdstk.Reference(contact_13, (8.645,20.585)))
bandgap_core_pctat_pmos.add(gdstk.Reference(contact_13, (-0.355,21.615), rotation=pi, x_reflection=True))
bandgap_core_pctat_pmos.add(gdstk.Reference(contact_13, (3.005,20.585)))
bandgap_core_pctat_pmos.add(gdstk.Reference(contact_13, (-0.355,21.025), rotation=pi, x_reflection=True))
bandgap_core_pctat_pmos.add(gdstk.Reference(contact_13, (19.925,0.245)))
bandgap_core_pctat_pmos.add(gdstk.Reference(contact_13, (3.005,9.915)))
bandgap_core_pctat_pmos.add(gdstk.Reference(contact_13, (8.645,9.915)))
bandgap_core_pctat_pmos.add(gdstk.Reference(contact_13, (-0.355,0.685), rotation=pi, x_reflection=True))
bandgap_core_pctat_pmos.add(gdstk.Reference(contact_13, (-0.355,1.275), rotation=pi, x_reflection=True))
bandgap_core_pctat_pmos.add(gdstk.Reference(contact_13, (-0.355,10.355), rotation=pi, x_reflection=True))
bandgap_core_pctat_pmos.add(gdstk.Reference(contact_13, (14.285,9.915)))
bandgap_core_pctat_pmos.add(gdstk.Reference(contact_13, (19.925,9.915)))
bandgap_core_pctat_pmos.add(gdstk.Reference(contact_13, (-0.355,10.945), rotation=pi, x_reflection=True))
bandgap_core_pctat_pmos.add(gdstk.Reference(contact_13, (3.005,9.175)))
bandgap_core_pctat_pmos.add(gdstk.Reference(contact_13, (8.645,9.175)))
bandgap_core_pctat_pmos.add(gdstk.Reference(contact_13, (14.285,9.175)))
bandgap_core_pctat_pmos.add(gdstk.Reference(contact_15, (-2.48,0.86), rotation=pi, x_reflection=True))
bandgap_core_pctat_pmos.add(gdstk.Reference(contact_15, (-2.48,10.53), rotation=pi, x_reflection=True))
bandgap_core_pctat_pmos.add(gdstk.Reference(contact_15, (5.825,0.23), rotation=pi/2, x_reflection=True))
bandgap_core_pctat_pmos.add(gdstk.Reference(contact_15, (5.825,9.9), rotation=pi/2, x_reflection=True))
bandgap_core_pctat_pmos.add(gdstk.Reference(contact_15, (33.865,-1.05), rotation=pi/2))
bandgap_core_pctat_pmos.add(gdstk.Reference(contact_13, (36.845,18.845)))
bandgap_core_pctat_pmos.add(gdstk.Reference(contact_13, (42.485,18.845)))
bandgap_core_pctat_pmos.add(gdstk.Reference(contact_15, (47.975,0.86)))
bandgap_core_pctat_pmos.add(gdstk.Reference(contact_15, (34.025,20.57), rotation=pi/2, x_reflection=True))
bandgap_core_pctat_pmos.add(gdstk.Reference(contact_13, (45.845,21.615)))
bandgap_core_pctat_pmos.add(gdstk.Reference(contact_13, (45.845,21.025)))
bandgap_core_pctat_pmos.add(gdstk.Reference(contact_15, (46.695,21.79), rotation=pi))
bandgap_core_pctat_pmos.add(gdstk.Reference(contact_15, (47.975,10.53)))
bandgap_core_pctat_pmos.add(gdstk.Reference(contact_13, (45.845,0.685)))
bandgap_core_pctat_pmos.add(gdstk.Reference(contact_13, (45.845,1.275)))
bandgap_core_pctat_pmos.add(gdstk.Reference(contact_13, (45.845,10.355)))
bandgap_core_pctat_pmos.add(gdstk.Reference(contact_13, (42.485,20.585)))
bandgap_core_pctat_pmos.add(gdstk.Reference(contact_13, (36.845,20.585)))
bandgap_core_pctat_pmos.add(gdstk.Reference(contact_15, (47.975,21.2)))
bandgap_core_pctat_pmos.add(gdstk.Reference(contact_15, (47.335,1.45), rotation=pi))
bandgap_core_pctat_pmos.add(gdstk.Reference(contact_15, (47.335,11.12), rotation=pi))
bandgap_core_pctat_pmos.add(gdstk.Reference(contact_13, (25.565,9.915)))
bandgap_core_pctat_pmos.add(gdstk.Reference(contact_13, (31.205,9.915)))
bandgap_core_pctat_pmos.add(gdstk.Reference(contact_13, (31.205,20.585)))
bandgap_core_pctat_pmos.add(gdstk.Reference(contact_13, (25.565,20.585)))
bandgap_core_pctat_pmos.add(gdstk.Reference(contact_13, (36.845,9.915)))
bandgap_core_pctat_pmos.add(gdstk.Reference(contact_13, (45.845,10.945)))
bandgap_core_pctat_pmos.add(gdstk.Reference(contact_13, (42.485,9.915)))
bandgap_core_pctat_pmos.add(gdstk.Reference(contact_13, (25.565,9.175)))
bandgap_core_pctat_pmos.add(gdstk.Reference(contact_13, (31.205,9.175)))
bandgap_core_pctat_pmos.add(gdstk.Reference(contact_13, (36.845,9.175)))
bandgap_core_pctat_pmos.add(gdstk.Reference(contact_13, (42.485,9.175)))
bandgap_core_pctat_pmos.add(gdstk.Reference(contact_13, (25.565,0.245)))
bandgap_core_pctat_pmos.add(gdstk.Reference(contact_13, (31.205,0.245)))
bandgap_core_pctat_pmos.add(gdstk.Reference(contact_15, (39.665,9.9), rotation=pi/2, x_reflection=True))
bandgap_core_pctat_pmos.add(gdstk.Reference(contact_15, (25.565,9.18), rotation=pi/2, x_reflection=True))
bandgap_core_pctat_pmos.add(gdstk.Reference(contact_15, (39.665,0.23), rotation=pi/2, x_reflection=True))
bandgap_core_pctat_pmos.add(gdstk.Reference(contact_15, (31.205,9.18), rotation=pi/2, x_reflection=True))
bandgap_core_pctat_pmos.add(gdstk.Reference(contact_15, (36.845,9.18), rotation=pi/2, x_reflection=True))
bandgap_core_pctat_pmos.add(gdstk.Reference(contact_15, (42.485,9.18), rotation=pi/2, x_reflection=True))
bandgap_core_pctat_pmos.add(gdstk.Reference(contact_13, (36.845,0.245)))
bandgap_core_pctat_pmos.add(gdstk.Reference(contact_13, (42.485,0.245)))
bandgap_core_pctat_pmos.add(gdstk.Reference(contact_13, (25.565,18.845)))
bandgap_core_pctat_pmos.add(gdstk.Reference(contact_13, (31.205,18.845)))
bandgap_core_pctat_pmos.add(gdstk.Reference(contact_15, (25.565,18.85), rotation=pi/2, x_reflection=True))
bandgap_core_pctat_pmos.add(gdstk.Reference(contact_15, (47.975,-2.81)))
bandgap_core_pctat_pmos.add(gdstk.Reference(contact_15, (31.205,18.85), rotation=pi/2, x_reflection=True))
bandgap_core_pctat_pmos.add(gdstk.Reference(contact_15, (47.335,-2.17), rotation=pi))
bandgap_core_pctat_pmos.add(gdstk.Reference(contact_15, (46.695,-1.53)))
bandgap_core_pctat_pmos.add(gdstk.Reference(contact_15, (36.845,18.85), rotation=pi/2, x_reflection=True))
bandgap_core_pctat_pmos.add(gdstk.Reference(contact_15, (42.485,18.85), rotation=pi/2, x_reflection=True))
bandgap_core_pctat_pmos.add(gdstk.Reference(contact_15, (28.225,-0.41), rotation=3*pi/2))
bandgap_core_pctat_pmos.add(gdstk.Label('cas', (46.59,-2.975), layer=68, texttype=5))
bandgap_core_pctat_pmos.add(gdstk.Label('vdd', (21.97,59.56), layer=68, texttype=5))
bandgap_core_pctat_pmos.add(gdstk.Label('ctat_int', (47.335,-0.01), layer=69, texttype=5))
bandgap_core_pctat_pmos.add(gdstk.Label('ptat_int', (46.695,0.15), layer=69, texttype=5))
bandgap_core_pctat_pmos.add(gdstk.Label('ctat', (22.745,-0.55), layer=69, texttype=5))
bandgap_core_pctat_pmos.add(gdstk.Label('ptat1', (11.465,-0.44), layer=69, texttype=5))
bandgap_core_pctat_pmos.add(gdstk.Label('ptat2', (17.105,-0.33), layer=69, texttype=5))

lib.write_gds('bandgap_core_pctat_pmos.gds')
